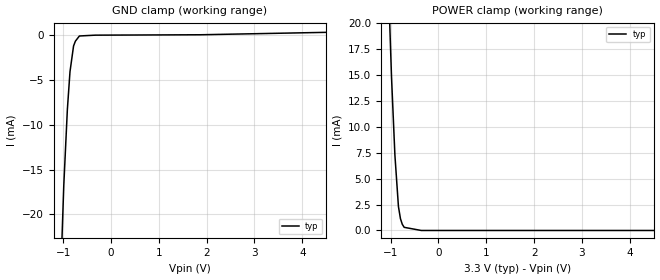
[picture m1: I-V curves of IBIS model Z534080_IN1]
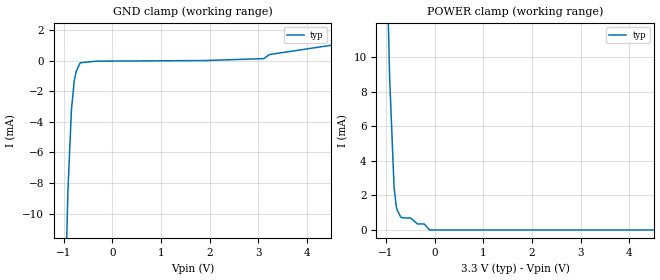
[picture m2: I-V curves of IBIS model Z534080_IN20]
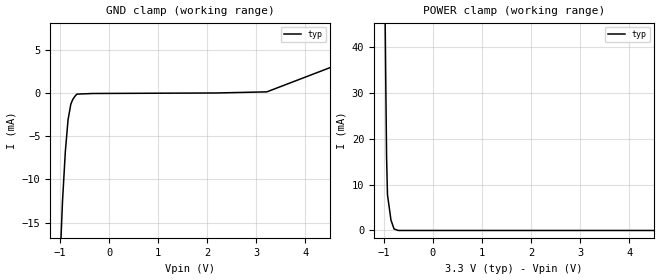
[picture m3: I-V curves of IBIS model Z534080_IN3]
| YOU ARE ONLY AUTHORIZED TO USE THIS SOFTWARE
| ACCORDING TO LICENSOR'S LICENSE RESTRICTIONS.
[IBIS Ver] 3.1
[File Name] mc100lvel30dw_33.ibs
[File Rev] 1.0
[Source] Derived from LVEL29 Measured by ICX Technology
[Date] 2/9/2004
[Copyright]
| (C) COPYRIGHT 1993-2000
| MENTOR GRAPHICS CORPORATION
| ICX STANDARD LIBRARY, ICX PROJECT MODELING,
| ICX CUSTOM MODELING, ICX VENDOR MODEL
| ALL RIGHTS RESERVED.
| THE FOLLOWING ARE TRADEMARKS OR SERVICE MARKS OF
| MENTOR GRAPHICS CORPORATION:ICX (R), ICX STANDARD
| LIBRARY(R), ICX PROJECT MODELING(R), ICX CUSTOM
| MODELING(R), qualityIBIS(TM), MODELVIEWER(TM),
| AND MODELEDITOR(TM)
| ALL COPIES OF SOFTWARE, INCLUDING BUT NOT LIMITED TO
| ANY MODIFICATIONS, ENHANCEMENTS OR DERIVATIVE WORKS,
| MUST CONTAIN ALL MENTOR GRAPHICS CORPORATION'S
| NOTICES AND LEGENDS, INCLUDING THOSE EMBEDDED IN
| SOFTWARE AND THOSE AFFIXED TO SOFTWARE MEDIUM
| AND CONTAINER, AS RECEIVED FROM MENTOR GRAPHICS
| CORPORATION.
|  ZAP Model Builder 2.7
[Component] MC100LVEL30DW_33
[Manufacturer] ON Semiconductor
[Package]
| variable   typ   min   max
R_pkg  .178ohms NA NA
L_pkg  4.43nH NA NA
C_pkg  .62pF NA NA
[Pin] signal_name  model_name  R_pin  L_pin C_pin
1 SO12 Z534080_IN1 .186 5.37n .68p
2 D0 Z534080_IN1 .178 4.42n .62p
3 CLK0 Z534080_IN3 .178 4.42n .62p
4 R0 Z534080_IN20 .186 5.37n .68p
5 D1 Z534080_IN1 .178 4.42n .62p
6 CLK1 Z534080_IN3 .178 4.42n .62p
7 R1 Z534080_IN20 .186 5.37n .68p
8 D2 Z534080_IN1 .178 4.42n .62p
9 CLK2 Z534080_IN3 .178 4.42n .62p
10 R2 Z534080_IN20 .186 5.37n .68p
11 VEE POWER .186 5.37n .68p
12 _Q2 Z534080_OUT17 .182 4.89n .65p
13 Q2 Z534080_OUT18 .178 4.42n .62p
14 VCC POWER .174 3.96n .59p
15 _Q1 Z534080_OUT17 .182 4.89n .65p
16 Q1 Z534080_OUT18 .178 4.42n .62p
17 VCC POWER .174 3.96n .59p
18 _Q0 Z534080_OUT17 .182 4.89n .65p
19 Q0 Z534080_OUT18 .178 4.42n .62p
20 VCC POWER .174 3.96n .59p
| Models and submodels in the file (5): Z534080_IN1 (Input_ECL), Z534080_IN20 (Input_ECL), Z534080_IN3 (Input_ECL), Z534080_OUT17 (Output_ECL), Z534080_OUT18 (Output_ECL)
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| (C) COPYRIGHT 1993-2000
| MENTOR GRAPHICS CORPORATION
| ICX STANDARD LIBRARY, ICX PROJECT MODELING,
| ICX CUSTOM MODELING, ICX VENDOR MODEL
| ALL RIGHTS RESERVED.
| THE FOLLOWING ARE TRADEMARKS OR SERVICE MARKS OF
| MENTOR GRAPHICS CORPORATION:ICX (R), ICX STANDARD
| LIBRARY(R), ICX PROJECT MODELING(R), ICX CUSTOM
| MODELING(R), qualityIBIS(TM), MODELVIEWER(TM),
| AND MODELEDITOR(TM)
| ALL COPIES OF SOFTWARE, INCLUDING BUT NOT LIMITED TO
| ANY MODIFICATIONS, ENHANCEMENTS OR DERIVATIVE WORKS,
| MUST CONTAIN ALL MENTOR GRAPHICS CORPORATION'S
| NOTICES AND LEGENDS, INCLUDING THOSE EMBEDDED IN
| SOFTWARE AND THOSE AFFIXED TO SOFTWARE MEDIUM
| AND CONTAINER, AS RECEIVED FROM MENTOR GRAPHICS
| CORPORATION.
| Model Application Version 1.89 2/18/99.
[Model] Z534080_IN1
Model_type Input_ECL
Vinl = 2.115V
Vinh = 2.301V
C_comp 2.000pF NA NA
| variable typ   min   max
[Voltage Range] 3.300V NA NA
[GND Clamp Reference] 0.000V NA NA
[POWER Clamp Reference] 3.300V NA NA
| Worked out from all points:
|   GND clamp passes 1 mA (typ) near -0.77 V on its own axis
|   POWER clamp passes 1 mA (typ) near -0.78 V on its own axis
[GND Clamp]
-3.3V     -573.3mA   NA         NA
-1.202V   -56.5mA    NA         NA
-1.069V   -29.88mA   NA         NA
-985.7mV  -16.78mA   NA         NA
-910.9mV  -8.324mA   NA         NA
-856.1mV  -4.099mA   NA         NA
-781.1mV  -1.214mA   NA         NA
-742.2mV  -681.8uA   NA         NA
-659.2mV  -109.5uA   NA         NA
-329.6mV  -17.38uA   NA         NA
1.871V    27.26uA    NA         NA
6.6V      512.2uA    NA         NA
[POWER Clamp]
-3.3V     1.036A     NA         NA
-1.036V   22.37mA    NA         NA
-981mV    14.81mA    NA         NA
-910mV    7.262mA    NA         NA
-836mV    2.301mA    NA         NA
-794mV    1.134mA    NA         NA
-756mV    597.9uA    NA         NA
-716mV    302.9uA    NA         NA
-358mV    0A         NA         NA
6.6V      0A         NA         NA
| (C) COPYRIGHT 1993-2000
| MENTOR GRAPHICS CORPORATION
| ICX STANDARD LIBRARY, ICX PROJECT MODELING,
| ICX CUSTOM MODELING, ICX VENDOR MODEL
| ALL RIGHTS RESERVED.
| THE FOLLOWING ARE TRADEMARKS OR SERVICE MARKS OF
| MENTOR GRAPHICS CORPORATION:ICX (R), ICX STANDARD
| LIBRARY(R), ICX PROJECT MODELING(R), ICX CUSTOM
| MODELING(R), qualityIBIS(TM), MODELVIEWER(TM),
| AND MODELEDITOR(TM)
| ALL COPIES OF SOFTWARE, INCLUDING BUT NOT LIMITED TO
| ANY MODIFICATIONS, ENHANCEMENTS OR DERIVATIVE WORKS,
| MUST CONTAIN ALL MENTOR GRAPHICS CORPORATION'S
| NOTICES AND LEGENDS, INCLUDING THOSE EMBEDDED IN
| SOFTWARE AND THOSE AFFIXED TO SOFTWARE MEDIUM
| AND CONTAINER, AS RECEIVED FROM MENTOR GRAPHICS
| CORPORATION.
| Model Application Version 1.89 2/18/99.
[Model] Z534080_IN20
Model_type Input_ECL
Vinl = 2.115V
Vinh = 2.301V
C_comp 2.000pF NA NA
| variable typ   min   max
[Voltage Range] 3.300V NA NA
[GND Clamp Reference] 0.000V NA NA
[POWER Clamp Reference] 3.300V NA NA
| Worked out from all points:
|   GND clamp passes 1 mA (typ) near -0.76 V on its own axis
|   POWER clamp passes 1 mA (typ) near -0.74 V on its own axis
[GND Clamp]
-3.3V     -565.1mA   NA         NA
-1.053V   -27.22mA   NA         NA
-911.2mV  -8.577mA   NA         NA
-838.1mV  -3.214mA   NA         NA
-781mV    -1.32mA    NA         NA
-742.1mV  -712.5uA   NA         NA
-659mV    -123.4uA   NA         NA
-329.5mV  -18.95uA   NA         NA
1.928V    23.59uA    NA         NA
3.115V    149.7uA    NA         NA
3.232V    416.6uA    NA         NA
6.6V      2.027mA    NA         NA
[POWER Clamp]
-3.3V     2.007A     NA         NA
-1.036V   22.11mA    NA         NA
-927mV    8.865mA    NA         NA
-836mV    2.517mA    NA         NA
-793mV    1.404mA    NA         NA
-773mV    1.165mA    NA         NA
-694mV    725uA      NA         NA
-494mV    694.6uA    NA         NA
-355mV    348.7uA    NA         NA
-216mV    348.7uA    NA         NA
-108mV    0A         NA         NA
6.6V      0A         NA         NA
| (C) COPYRIGHT 1993-2000
| MENTOR GRAPHICS CORPORATION
| ICX STANDARD LIBRARY, ICX PROJECT MODELING,
| ICX CUSTOM MODELING, ICX VENDOR MODEL
| ALL RIGHTS RESERVED.
| THE FOLLOWING ARE TRADEMARKS OR SERVICE MARKS OF
| MENTOR GRAPHICS CORPORATION:ICX (R), ICX STANDARD
| LIBRARY(R), ICX PROJECT MODELING(R), ICX CUSTOM
| MODELING(R), qualityIBIS(TM), MODELVIEWER(TM),
| AND MODELEDITOR(TM)
| ALL COPIES OF SOFTWARE, INCLUDING BUT NOT LIMITED TO
| ANY MODIFICATIONS, ENHANCEMENTS OR DERIVATIVE WORKS,
| MUST CONTAIN ALL MENTOR GRAPHICS CORPORATION'S
| NOTICES AND LEGENDS, INCLUDING THOSE EMBEDDED IN
| SOFTWARE AND THOSE AFFIXED TO SOFTWARE MEDIUM
| AND CONTAINER, AS RECEIVED FROM MENTOR GRAPHICS
| CORPORATION.
| Model Application Version 1.89 2/18/99.
[Model] Z534080_IN3
Model_type Input_ECL
Vinl = 2.115V
Vinh = 2.301V
C_comp 2.000pF NA NA
| variable typ   min   max
[Voltage Range] 3.300V NA NA
[GND Clamp Reference] 0.000V NA NA
[POWER Clamp Reference] 3.300V NA NA
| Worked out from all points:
|   GND clamp passes 1 mA (typ) near -0.76 V on its own axis
|   POWER clamp passes 1 mA (typ) near -0.81 V on its own axis
[GND Clamp]
-3.3V     -511.5mA   NA         NA
-1.019V   -22.02mA   NA         NA
-950.2mV  -12.46mA   NA         NA
-893.1mV  -6.758mA   NA         NA
-838mV    -3.076mA   NA         NA
-781.4mV  -1.26mA    NA         NA
-742.2mV  -712.5uA   NA         NA
-659.1mV  -91.41uA   NA         NA
3.213V    172.2uA    NA         NA
6.6V      7.565mA    NA         NA
[POWER Clamp]
-3.3V     935.6mA    NA         NA
-1.071V   152.2mA    NA         NA
-962mV    33.5mA     NA         NA
-944mV    15.84mA    NA         NA
-926mV    7.817mA    NA         NA
-855mV    2.271mA    NA         NA
-792mV    325.3uA    NA         NA
-704mV    0A         NA         NA
6.6V      0A         NA         NA
